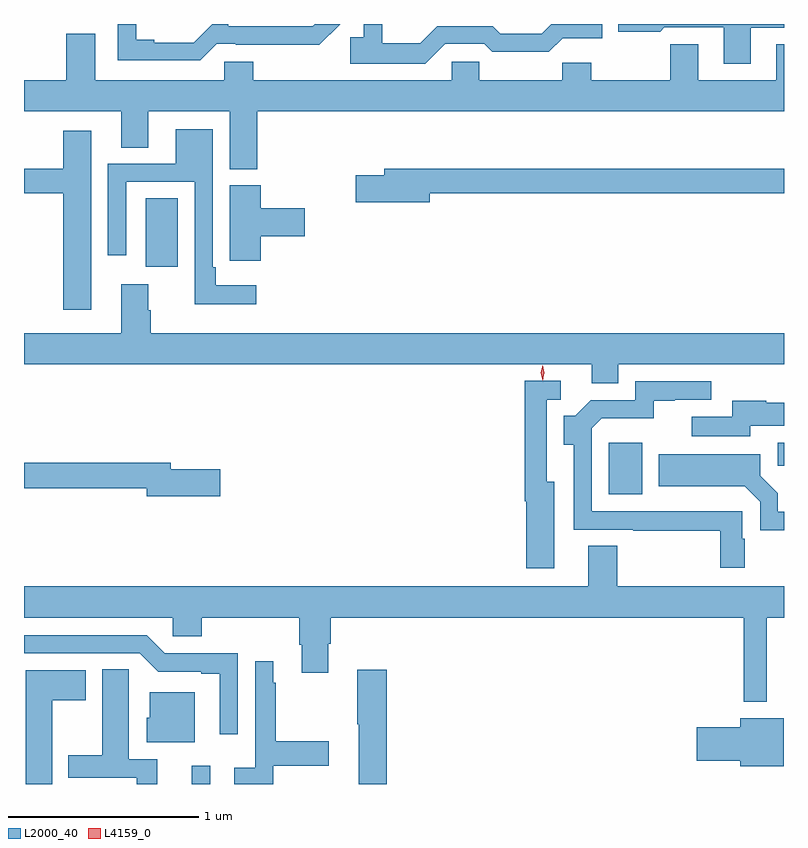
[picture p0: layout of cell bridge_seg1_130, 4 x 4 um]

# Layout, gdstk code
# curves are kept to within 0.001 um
import gdstk
lib = gdstk.Library(unit=1e-6, precision=1e-09)
def R(c, l, rs):  # rectangles x0, y0, x1, y1
    for r in rs: c.add(gdstk.rectangle(r[:2], r[2:], *l))
def P(c, l, *ps):  # polygons
    for p in ps: c.add(gdstk.Polygon(p, *l))
L2000_40 = (2000, 40)
L4159_0 = (4159, 0)

bridge_seg1_130 = lib.new_cell('bridge_seg1_130')
R(bridge_seg1_130, L2000_40, [(408.227,561.512,408.324,561.607), (410.423,563.036,410.599,563.307), (411.312,563.187,411.345,563.308), (407.987,564.234,408.154,564.596)])
P(bridge_seg1_130, L2000_40, [(408.36,565.407),(408.46,565.407),(408.46,565.403),(408.9,565.403),(409.009,565.512),(408.876,565.512),(408.864,565.5),(408.421,565.5),(408.421,565.512),(408.336,565.512),(408.238,565.414),(408.031,565.414),(408.031,565.429),(407.936,565.429),(407.936,565.512),(407.838,565.512),(407.838,565.32),(408.273,565.32)],
  [(409.561,565.407),(409.767,565.407),(409.81,565.365),(410.108,565.365),(410.18,565.436),(410.388,565.436),(410.388,565.512),(410.121,565.512),(410.07,565.461),(409.851,565.461),(409.812,565.5),(409.521,565.5),(409.431,565.41),(409.23,565.41),(409.23,565.512),(409.134,565.512),(409.134,565.442),(409.061,565.442),(409.061,565.304),(409.458,565.304)],
  [(411.169,565.491),(411.345,565.491),(411.345,565.512),(410.473,565.512),(410.473,565.472),(410.693,565.472),(410.715,565.494),(411.029,565.494),(411.029,565.302),(411.169,565.302)],
  [(408.572,565.052),(411.345,565.052),(411.345,565.406),(411.305,565.406),(411.305,565.216),(410.893,565.216),(410.893,565.406),(410.746,565.406),(410.746,565.216),(410.331,565.216),(410.331,565.309),(410.177,565.309),(410.177,565.216),(409.742,565.216),(409.742,565.314),(409.596,565.314),(409.596,565.216),(408.551,565.216),(408.551,565.314),(408.399,565.314),(408.399,565.216),(407.719,565.216),(407.719,565.46),(407.567,565.46),(407.567,565.216),(407.345,565.216),(407.345,565.052),(407.858,565.052),(407.858,564.862),(407.998,564.862),(407.998,565.052),(408.428,565.052),(408.428,564.748),(408.572,564.748)],
  [(408.568,564.136),(408.355,564.136),(408.355,564.232),(408.339,564.232),(408.339,564.958),(408.143,564.958),(408.143,564.777),(407.787,564.777),(407.787,564.294),(407.883,564.294),(407.883,564.681),(408.243,564.681),(408.243,564.038),(408.568,564.038)],
  [(407.698,564.949),(407.552,564.949),(407.552,564.751),(407.345,564.751),(407.345,564.622),(407.552,564.622),(407.552,564.009),(407.698,564.009)],
  [(409.48,564.622),(411.345,564.622),(411.345,564.751),(409.241,564.751),(409.241,564.717),(409.092,564.717),(409.092,564.575),(409.48,564.575)],
  [(408.59,564.395),(408.823,564.395),(408.823,564.542),(408.59,564.542),(408.59,564.663),(408.428,564.663),(408.428,564.379),(408.429,564.379),(408.429,564.267),(408.59,564.267)],
  [(410.473,563.72),(411.345,563.72),(411.345,563.884),(408.011,563.884),(408.011,564.005),(407.998,564.005),(407.998,564.142),(407.858,564.142),(407.858,563.884),(407.345,563.884),(407.345,563.72),(410.333,563.72),(410.333,563.621),(410.473,563.621)],
  [(410.137,563.104),(410.097,563.104),(410.097,563.535),(410.17,563.535),(410.17,563.635),(409.981,563.635),(409.981,563),(409.988,563),(409.988,562.647),(410.137,562.647)],
  [(411.139,562.803),(411.126,562.803),(411.126,562.948),(410.334,562.947),(410.334,563.385),(410.387,563.438),(410.511,563.438),(410.511,563.436),(410.66,563.436),(410.66,563.53),(410.771,563.53),(410.771,563.535),(410.962,563.535),(410.962,563.631),(410.562,563.631),(410.562,563.532),(410.328,563.532),(410.245,563.449),(410.186,563.449),(410.186,563.297),(410.238,563.297),(410.238,562.851),(410.551,562.851),(410.551,562.846),(411.01,562.846),(411.01,562.65),(411.139,562.65)],
  [(411.168,563.397),(411.345,563.397),(411.345,563.518),(411.252,563.518),(411.252,563.53),(411.072,563.53),(411.072,563.446),(410.859,563.446),(410.859,563.342),(411.168,563.342)],
  [(411.345,562.944),(411.312,562.944),(411.312,563.041),(411.219,563.134),(411.219,563.248),(410.687,563.248),(410.687,563.078),(411.139,563.078),(411.219,562.998),(411.219,562.848),(411.345,562.848)],
  [(408.379,563.168),(408.118,563.168),(408.118,563.204),(407.345,563.204),(407.345,563.068),(407.99,563.068),(407.99,563.026),(408.379,563.026)],
  [(411.253,562.388),(411.345,562.388),(411.345,562.552),(410.468,562.552),(410.468,562.766),(410.315,562.766),(410.315,562.552),(407.345,562.552),(407.345,562.388),(408.129,562.388),(408.129,562.29),(408.281,562.29),(408.281,562.388),(408.794,562.388),(408.794,562.246),(408.806,562.246),(408.806,562.098),(408.946,562.098),(408.946,562.251),(408.959,562.251),(408.959,562.388),(411.132,562.388),(411.132,561.944),(411.253,561.944)],
  [(408.471,562.2),(408.087,562.2),(407.991,562.296),(407.345,562.296),(407.345,562.2),(407.955,562.2),(408.051,562.104),(408.278,562.104),(408.278,562.092),(408.374,562.092),(408.374,561.774),(408.471,561.774)],
  [(408.658,561.608),(408.949,561.608),(408.949,561.738),(408.67,561.738),(408.67,562.046),(408.658,562.046),(408.658,562.159),(408.561,562.159),(408.561,561.598),(408.452,561.598),(408.452,561.512),(408.658,561.512)],
  [(408.047,561.642),(407.896,561.642),(407.896,562.004),(407.895,562.004),(407.895,562.115),(407.756,562.115),(407.756,561.663),(407.579,561.663),(407.579,561.546),(407.938,561.546),(407.938,561.512),(408.047,561.512)],
  [(409.253,562.114),(409.099,562.114),(409.099,561.826),(409.106,561.826),(409.106,561.512),(409.253,561.512)],
  [(407.494,561.952),(407.671,561.952),(407.671,562.111),(407.354,562.111),(407.354,561.601),(407.355,561.601),(407.355,561.512),(407.494,561.512)],
  [(408.244,561.994),(408.008,561.994),(408.008,561.861),(407.99,561.861),(407.99,561.731),(408.244,561.731)],
  [(411.343,561.859),(411.116,561.859),(411.116,561.812),(410.886,561.812),(410.886,561.634),(411.116,561.634),(411.116,561.605),(411.343,561.605)])
P(bridge_seg1_130, L4159_0, [(410.074,563.635),(410.074,563.635),(410.064,563.676),(410.074,563.717),(410.074,563.717),(410.074,563.717),(410.084,563.676),(410.074,563.635)])

lib.write_gds('bridge_seg1_130.gds')
